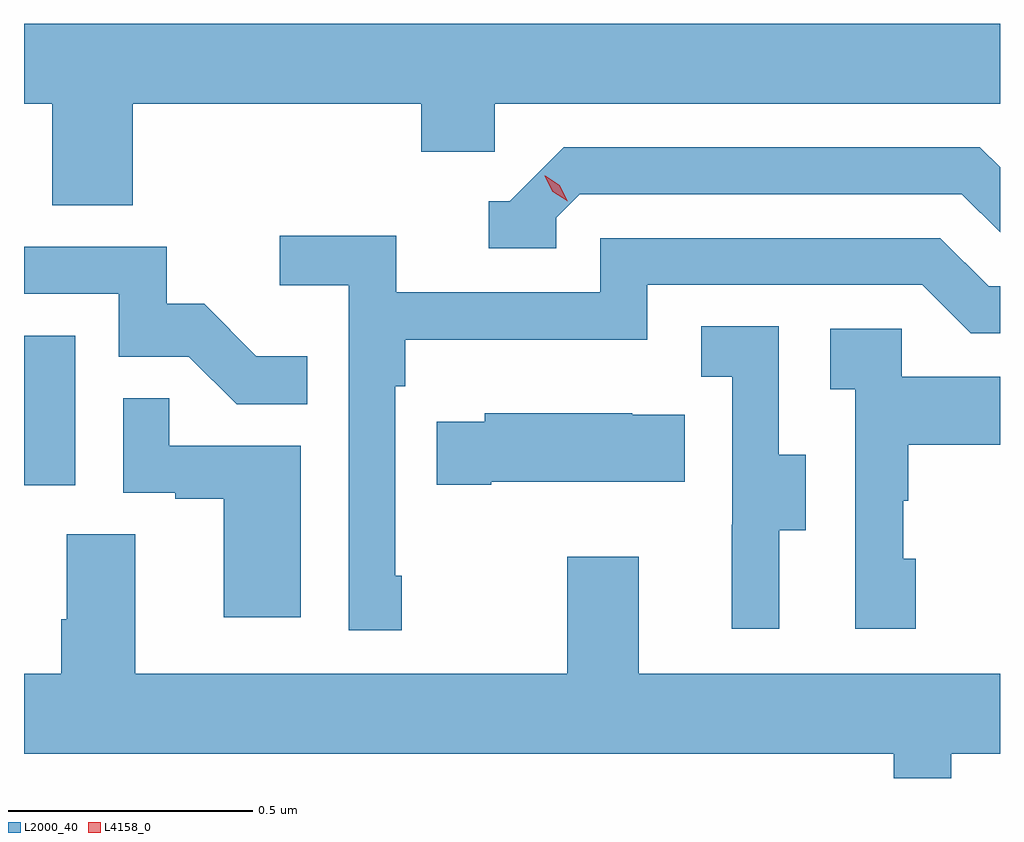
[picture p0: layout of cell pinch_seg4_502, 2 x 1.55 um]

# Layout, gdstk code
import gdstk
lib = gdstk.Library(unit=1e-6, precision=1e-09)
def R(c, l, rs):  # rectangles x0, y0, x1, y1
    for r in rs: c.add(gdstk.rectangle(r[:2], r[2:], *l))
def P(c, l, *ps):  # polygons
    for p in ps: c.add(gdstk.Polygon(p, *l))
L2000_40 = (2000, 40)
L4158_0 = (4158, 0)

pinch_seg4_502 = lib.new_cell('pinch_seg4_502')
R(pinch_seg4_502, L2000_40, [(912.853,761.406,912.958,761.713)])
P(pinch_seg4_502, L2000_40, [(913.076,762.188),(913.667,762.188),(913.667,762.09),(913.818,762.09),(913.818,762.188),(914.853,762.188),(914.853,762.352),(912.853,762.352),(912.853,762.188),(912.911,762.188),(912.911,761.98),(913.076,761.98)],
  [(913.944,761.955),(913.992,762.003),(914.775,762.003),(914.853,761.925),(914.853,762.058),(914.812,762.099),(913.959,762.099),(913.848,761.988),(913.805,761.988),(913.805,761.892),(913.944,761.892)],
  [(913.627,761.221),(913.614,761.221),(913.614,761.609),(913.634,761.609),(913.634,761.705),(914.13,761.705),(914.13,761.817),(914.694,761.817),(914.793,761.718),(914.853,761.718),(914.853,761.814),(914.83,761.814),(914.731,761.913),(914.034,761.913),(914.034,761.802),(913.616,761.802),(913.616,761.918),(913.377,761.918),(913.377,761.816),(913.518,761.816),(913.518,761.109),(913.627,761.109)],
  [(913.433,761.671),(913.329,761.671),(913.222,761.778),(913.146,761.778),(913.146,761.895),(912.853,761.895),(912.853,761.799),(913.047,761.799),(913.047,761.67),(913.191,761.67),(913.289,761.572),(913.433,761.572)],
  [(914.401,761.314),(914.455,761.314),(914.455,761.469),(914.4,761.469),(914.4,761.732),(914.241,761.732),(914.241,761.629),(914.304,761.629),(914.304,761.325),(914.303,761.325),(914.303,761.112),(914.401,761.112)],
  [(914.68,761.256),(914.655,761.256),(914.655,761.375),(914.665,761.375),(914.665,761.489),(914.853,761.489),(914.853,761.629),(914.652,761.629),(914.652,761.727),(914.505,761.727),(914.505,761.603),(914.556,761.603),(914.556,761.112),(914.68,761.112)],
  [(913.42,761.487),(913.151,761.487),(913.151,761.585),(913.056,761.585),(913.056,761.391),(913.163,761.391),(913.163,761.379),(913.262,761.379),(913.262,761.136),(913.42,761.136)],
  [(913.81,761.414),(914.207,761.414),(914.207,761.551),(914.099,761.551),(914.099,761.554),(913.797,761.554),(913.797,761.536),(913.699,761.536),(913.699,761.407),(913.81,761.407)],
  [(914.753,760.856),(914.853,760.856),(914.853,761.02),(914.113,761.02),(914.113,761.26),(913.966,761.26),(913.966,761.02),(913.081,761.02),(913.081,761.306),(912.941,761.306),(912.941,761.132),(912.929,761.132),(912.929,761.02),(912.853,761.02),(912.853,760.856),(914.635,760.856),(914.635,760.806),(914.753,760.806)])
P(pinch_seg4_502, L4158_0, [(913.967,761.988),(913.936,762.008),(913.92,762.04),(913.92,762.041),(913.921,762.041),(913.951,762.021),(913.967,761.988),(913.967,761.988)])

lib.write_gds('pinch_seg4_502.gds')
